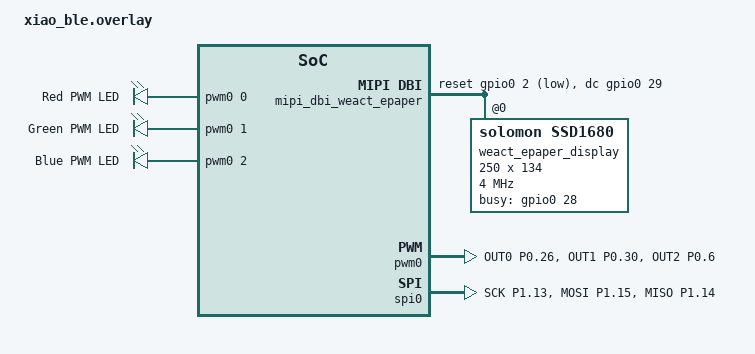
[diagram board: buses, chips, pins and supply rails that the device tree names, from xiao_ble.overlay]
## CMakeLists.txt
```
cmake_minimum_required(VERSION 3.20.0)
find_package(Zephyr REQUIRED HINTS $ENV{ZEPHYR_BASE})

project(myown-ble-ht)

target_include_directories(app PRIVATE include)
target_sources(app PRIVATE
	src/main.c
	include/ble_rgb_service.c
	include/ble_ess_service.c
	include/display_epaper_cfb.c
	include/battery.c
)
```

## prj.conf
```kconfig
# Bluetooth Configuration
CONFIG_BT=y
CONFIG_BT_PERIPHERAL=y
CONFIG_BT_DEVICE_NAME="BLE H&T Sensor"

# BLE GATT Configuration
CONFIG_BT_GATT_DYNAMIC_DB=y
CONFIG_BT_GATT_SERVICE_CHANGED=y

# Logging
CONFIG_LOG=y
CONFIG_CONSOLE=y
CONFIG_UART_CONSOLE=y
CONFIG_SERIAL=y

# USB CDC ACM for logging over USB
# CONFIG_USB_DEVICE_STACK=y
# CONFIG_USB_DEVICE_INITIALIZE_AT_BOOT=y
# CONFIG_USB_CDC_ACM=y
# CONFIG_UART_LINE_CTRL=y

# System Configuration
CONFIG_HEAP_MEM_POOL_SIZE=2048

# Enable floating point for sensor values
CONFIG_NEWLIB_LIBC=y
CONFIG_NEWLIB_LIBC_FLOAT_PRINTF=y

# PWM for RGB LED
CONFIG_PWM=y

# GPIO for battery voltage divider control
CONFIG_GPIO=y

# ADC for Battery Voltage Reading
CONFIG_ADC=y

# SPI for E-Paper Display
CONFIG_SPI=y

# Display drivers
CONFIG_DISPLAY=y
CONFIG_SSD16XX=y

# Character Framebuffer (CFB) for display
CONFIG_CHARACTER_FRAMEBUFFER=y

# CFB fonts are automatically available, can be selected programmatically

# LVGL Graphics Library (disabled - using raw display API)
# CONFIG_LVGL=y

# Additional memory for LVGL
CONFIG_MAIN_STACK_SIZE=4096
CONFIG_SYSTEM_WORKQUEUE_STACK_SIZE=2048
CONFIG_HEAP_MEM_POOL_SIZE=8192
```

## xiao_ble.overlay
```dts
/ {
	chosen {
		zephyr,console = &uart0;
		zephyr,shell-uart = &uart0;
		zephyr,display = &weact_epaper_display;
	};

	pwmleds {
		compatible = "pwm-leds";

		red_pwm_led: red_pwm_led {
			pwms = <&pwm0 0 PWM_MSEC(20) PWM_POLARITY_INVERTED>;
			label = "Red PWM LED";
		};
		green_pwm_led: green_pwm_led {
			pwms = <&pwm0 1 PWM_MSEC(20) PWM_POLARITY_INVERTED>;
			label = "Green PWM LED";
		};
		blue_pwm_led: blue_pwm_led {
			pwms = <&pwm0 2 PWM_MSEC(20) PWM_POLARITY_INVERTED>;
			label = "Blue PWM LED";
		};
	};

	mipi_dbi_weact_epaper {
		compatible = "zephyr,mipi-dbi-spi";
		spi-dev = <&spi0>;
		dc-gpios = <&gpio0 29 GPIO_ACTIVE_HIGH>;    /* D3 = P0.29 - DC */
		reset-gpios = <&gpio0 2 GPIO_ACTIVE_LOW>;   /* D0 = P0.02 - RST */
		#address-cells = <1>;
		#size-cells = <0>;

		weact_epaper_display: ssd1680@0 {
			compatible = "solomon,ssd1680";
			reg = <0>;
			mipi-max-frequency = <4000000>;
			width = <250>;
			height = <134>;
			busy-gpios = <&gpio0 28 GPIO_ACTIVE_HIGH>; /* D2 = P0.28 - BUSY (BL pin) */

			full {
				gdv = [15];
				sdv = [41 a8 32];
				vcom = <0x26>;
				border-waveform = <0x05>;
			};

			partial {
				gdv = [15];
				sdv = [41 a8 32];
				vcom = <0x26>;
				border-waveform = <0x01>;
			};
		};
	};
};

&pwm0 {
	status = "okay";
	pinctrl-0 = <&pwm0_default>;
	pinctrl-1 = <&pwm0_sleep>;
	pinctrl-names = "default", "sleep";
};

&pinctrl {
	pwm0_default: pwm0_default {
		group1 {
			psels = <NRF_PSEL(PWM_OUT0, 0, 26)>,  /* Red LED - P0.26 */
				<NRF_PSEL(PWM_OUT1, 0, 30)>,  /* Green LED - P0.30 */
				<NRF_PSEL(PWM_OUT2, 0, 6)>;   /* Blue LED - P0.06 */
			nordic,invert;
		};
	};

	pwm0_sleep: pwm0_sleep {
		group1 {
			psels = <NRF_PSEL(PWM_OUT0, 0, 26)>,
				<NRF_PSEL(PWM_OUT1, 0, 30)>,
				<NRF_PSEL(PWM_OUT2, 0, 6)>;
			low-power-enable;
		};
	};

	spi0_default: spi0_default {
		group1 {
			psels = <NRF_PSEL(SPIM_SCK, 1, 13)>,    /* D8 - SCK */
				<NRF_PSEL(SPIM_MOSI, 1, 15)>,   /* D10 - MOSI */
				<NRF_PSEL(SPIM_MISO, 1, 14)>;   /* D9 - MISO (not used for display) */
		};
	};

	spi0_sleep: spi0_sleep {
		group1 {
			psels = <NRF_PSEL(SPIM_SCK, 1, 13)>,
				<NRF_PSEL(SPIM_MOSI, 1, 15)>,
				<NRF_PSEL(SPIM_MISO, 1, 14)>;
			low-power-enable;
		};
	};
};

/* Enable spi0 for E-Paper Display */
&spi0 {
	compatible = "nordic,nrf-spim";
	status = "okay";
	cs-gpios = <&gpio0 3 GPIO_ACTIVE_LOW>;  /* D1 = P0.03 - CS */
	pinctrl-0 = <&spi0_default>;
	pinctrl-1 = <&spi0_sleep>;
	pinctrl-names = "default", "sleep";
};
```

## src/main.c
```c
#include <zephyr/kernel.h>
#include <zephyr/bluetooth/bluetooth.h>
#include <zephyr/bluetooth/gap.h>
#include <zephyr/bluetooth/conn.h>
#include <zephyr/bluetooth/uuid.h>
#include <zephyr/logging/log.h>

#include "../include/ble_rgb_service.h"
#include "../include/ble_ess_service.h"
#include "../include/display_epaper.h"
#include "../include/battery.h"

LOG_MODULE_REGISTER(main, LOG_LEVEL_INF);

/* BLE advertising data */
static const struct bt_data ad[] = {
	BT_DATA_BYTES(BT_DATA_FLAGS, (BT_LE_AD_GENERAL | BT_LE_AD_NO_BREDR)),
	BT_DATA_BYTES(BT_DATA_UUID16_ALL,
		      0x1A, 0x18,  /* Environmental Sensing Service (0x181A) - little endian */
		      0xE0, 0xFF), /* RGB LED Service (0xFFE0) - little endian */
};

static const struct bt_data sd[] = {
	BT_DATA(BT_DATA_NAME_COMPLETE, CONFIG_BT_DEVICE_NAME, sizeof(CONFIG_BT_DEVICE_NAME) - 1),
};

/* Connection callbacks */
static void connected(struct bt_conn *conn, uint8_t err)
{
	if (err) {
		LOG_ERR("Connection failed (err 0x%02x)", err);
	} else {
		LOG_INF("Connected");
	}
}

static void disconnected(struct bt_conn *conn, uint8_t reason)
{
	LOG_INF("Disconnected (reason 0x%02x)", reason);
}

BT_CONN_CB_DEFINE(conn_callbacks) = {
	.connected = connected,
	.disconnected = disconnected,
};

int main(void)
{
	int err;

	LOG_INF("=== BLE H&T Sensor Starting ===");

	/* Initialize RGB LED service */
	err = ble_rgb_service_init();
	if (err) {
		LOG_ERR("RGB service init failed (err %d)", err);
		return 0;
	}

	/* Initialize Environmental Sensing Service */
	err = ble_ess_service_init();
	if (err) {
		LOG_ERR("ESS init failed (err %d)", err);
		return 0;
	}

	/* Initialize Bluetooth */
	err = bt_enable(NULL);
	if (err) {
		LOG_ERR("Bluetooth init failed (err %d)", err);
		return 0;
	}
	LOG_INF("Bluetooth initialized");

	/* Start BLE advertising */
	struct bt_le_adv_param adv_param = {
		.id = BT_ID_DEFAULT,
		.sid = 0,
		.secondary_max_skip = 0,
		.options = BT_LE_ADV_OPT_CONN,
		.interval_min = BT_GAP_ADV_FAST_INT_MIN_2,
		.interval_max = BT_GAP_ADV_FAST_INT_MAX_2,
		.peer = NULL,
	};

	err = bt_le_adv_start(&adv_param, ad, ARRAY_SIZE(ad), sd, ARRAY_SIZE(sd));
	if (err) {
		LOG_ERR("Advertising failed to start (err %d)", err);
		return 0;
	}

	LOG_INF("Advertising started as '%s'", CONFIG_BT_DEVICE_NAME);
	LOG_INF("Services ready:");
	LOG_INF("  - Environmental Sensing Service (0x181A)");
	LOG_INF("  - RGB LED Service (0xFFE0)");

	/* Start automatic sensor data updates */
	ess_start_auto_update();

	/* Initialize E-Paper Display */
	err = display_epaper_init();
	if (err) {
		LOG_ERR("Display init failed (err %d)", err);
		return 0;
	}

	/* Initialize battery monitoring */
	err = battery_init();
	if (err) {
		LOG_ERR("Battery init failed (err %d)", err);
		/* Continue anyway - not critical */
	}

	/* Initialize sensor display labels */
	display_init_sensor_labels();

	/* Read and display initial battery level */
	uint16_t voltage = battery_read_voltage();
	uint8_t battery_pct = battery_get_percentage(voltage);
	display_update_battery(voltage, battery_pct);

	/* Main loop - just sleep */
	while (1) {
		k_sleep(K_FOREVER);
	}

	return 0;
}
```

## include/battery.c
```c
#include "battery.h"
#include <zephyr/device.h>
#include <zephyr/drivers/adc.h>
#include <zephyr/drivers/gpio.h>
#include <zephyr/logging/log.h>

LOG_MODULE_REGISTER(battery, LOG_LEVEL_INF);

/* ADC settings for nRF52840 */
#define ADC_DEVICE_NODE DT_NODELABEL(adc)
#define ADC_RESOLUTION 12  /* 12-bit resolution */
#define ADC_GAIN ADC_GAIN_1_6
#define ADC_REFERENCE ADC_REF_INTERNAL
#define ADC_ACQUISITION_TIME ADC_ACQ_TIME(ADC_ACQ_TIME_MICROSECONDS, 10)
#define ADC_CHANNEL_ID 7  /* Use channel 7 for AIN7 (P0.31) */

/* XIAO nRF52840 battery monitoring pins */
#define VBAT_ENABLE_PIN 14  /* P0.14 - enables voltage divider when LOW */
#define VBAT_ADC_PIN 31     /* P0.31 - AIN7 - battery voltage input */

/* Voltage divider: 1M + 510k resistors = (1000 + 510) / 510 ≈ 2.96 */
#define VBAT_DIVIDER_NUMERATOR 1510
#define VBAT_DIVIDER_DENOMINATOR 510

/* Calibration factor to compensate for ADC/resistor tolerances */
/* Adjust this based on multimeter readings: (actual_voltage / measured_voltage) * 1000 */
#define VBAT_CALIBRATION_FACTOR 1029  /* 1.029 * 1000 - adjusted for 4.00V target */

/* Moving average filter settings */
#define VBAT_SAMPLE_COUNT 8  /* Number of samples to average */
static uint16_t voltage_samples[VBAT_SAMPLE_COUNT];
static uint8_t sample_index = 0;
static bool samples_filled = false;

static const struct device *adc_dev;

static struct adc_channel_cfg channel_cfg = {
	.gain = ADC_GAIN,
	.reference = ADC_REFERENCE,
	.acquisition_time = ADC_ACQUISITION_TIME,
	.channel_id = ADC_CHANNEL_ID,
	.input_positive = SAADC_CH_PSELP_PSELP_AnalogInput7,  /* P0.31 / AIN7 */
};

static int16_t sample_buffer;
static struct adc_sequence sequence = {
	.buffer = &sample_buffer,
	.buffer_size = sizeof(sample_buffer),
	.resolution = ADC_RESOLUTION,
};

int battery_init(void)
{
	int ret;
	const struct device *gpio_dev;

	/* Get GPIO device for P0.14 (VBAT_ENABLE) */
	gpio_dev = DEVICE_DT_GET(DT_NODELABEL(gpio0));
	if (!device_is_ready(gpio_dev)) {
		LOG_ERR("GPIO device not ready");
		return -ENODEV;
	}

	/* Configure P0.14 as output and set LOW to enable voltage divider */
	ret = gpio_pin_configure(gpio_dev, VBAT_ENABLE_PIN, GPIO_OUTPUT_ACTIVE);
	if (ret != 0) {
		LOG_ERR("Failed to configure VBAT_ENABLE pin: %d", ret);
		return ret;
	}

	/* Set P0.14 LOW to enable battery voltage reading */
	ret = gpio_pin_set(gpio_dev, VBAT_ENABLE_PIN, 0);
	if (ret != 0) {
		LOG_ERR("Failed to set VBAT_ENABLE LOW: %d", ret);
		return ret;
	}

	/* Initialize ADC */
	adc_dev = DEVICE_DT_GET(ADC_DEVICE_NODE);
	if (!device_is_ready(adc_dev)) {
		LOG_ERR("ADC device not ready");
		return -ENODEV;
	}

	ret = adc_channel_setup(adc_dev, &channel_cfg);
	if (ret != 0) {
		LOG_ERR("ADC channel setup failed: %d", ret);
		return ret;
	}

	/* Set channel mask for the sequence */
	sequence.channels = BIT(ADC_CHANNEL_ID);

	LOG_INF("Battery monitoring initialized (P0.31/AIN7)");
	return 0;
}

uint16_t battery_read_voltage(void)
{
	int ret;
	int32_t val_mv;
	int32_t adc_voltage;
	uint32_t average_voltage = 0;

	ret = adc_read(adc_dev, &sequence);
	if (ret != 0) {
		LOG_ERR("ADC read failed: %d", ret);
		return 0;
	}

	LOG_INF("ADC raw value: %d", sample_buffer);

	/* Convert ADC value to millivolts */
	/* With internal reference (0.6V) and gain 1/6: */
	/* ADC voltage = sample * (600mV * 6) / 4096 */
	val_mv = sample_buffer;
	adc_voltage = (val_mv * 600 * 6) / 4096;

	LOG_INF("ADC voltage (before divider): %d mV", adc_voltage);

	/* Apply voltage divider ratio to get actual battery voltage */
	/* Battery voltage = ADC voltage * (1510 / 510) */
	val_mv = (adc_voltage * VBAT_DIVIDER_NUMERATOR) / VBAT_DIVIDER_DENOMINATOR;

	/* Apply calibration factor */
	val_mv = (val_mv * VBAT_CALIBRATION_FACTOR) / 1000;

	LOG_INF("Battery voltage (before averaging): %d mV", val_mv);

	/* Store sample in circular buffer */
	voltage_samples[sample_index] = (uint16_t)val_mv;
	sample_index = (sample_index + 1) % VBAT_SAMPLE_COUNT;

	/* Mark buffer as filled after first full cycle */
	if (sample_index == 0) {
		samples_filled = true;
	}

	/* Calculate moving average */
	uint8_t samples_to_average = samples_filled ? VBAT_SAMPLE_COUNT : sample_index;
	if (samples_to_average == 0) {
		samples_to_average = 1;  /* At least use the current sample */
	}

	for (uint8_t i = 0; i < samples_to_average; i++) {
		average_voltage += voltage_samples[i];
	}
	average_voltage /= samples_to_average;

	LOG_INF("Battery voltage (after averaging %d samples): %d mV",
		samples_to_average, average_voltage);

	return (uint16_t)average_voltage;
}

uint8_t battery_get_percentage(uint16_t mv)
{
    // Li-ion voltage curve (4.20V to 3.30V)
    const uint16_t voltage_table[] = {
        4200, 4100, 4000, 3900, 3800, 3700, 3600, 3500, 3400, 3300
    };

    const uint8_t percent_table[] = {
        100,  96,   90,   80,   60,   40,   25,   10,    5,    0
    };

    // Above max → 100%
    if (mv >= 4000) return 100;
    // Below min → 0%
    if (mv <= 3300) return 0;

    // Piecewise linear interpolation
    for (int i = 0; i < 9; i++) {
        if (mv >= voltage_table[i+1]) {
            uint16_t v1 = voltage_table[i];
            uint16_t v2 = voltage_table[i+1];
            uint8_t p1 = percent_table[i];
            uint8_t p2 = percent_table[i+1];

            // Linear interpolation between table points
            return p1 - ((p1 - p2) * (v1 - mv) / (v1 - v2));
        }
    }

    return 0; // should not happen
}
```

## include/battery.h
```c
#ifndef BATTERY_H
#define BATTERY_H

#include <zephyr/kernel.h>

/**
 * @brief Initialize battery monitoring
 *
 * @return 0 on success, negative errno on failure
 */
int battery_init(void);

/**
 * @brief Read battery voltage
 *
 * @return Battery voltage in millivolts (mV)
 */
uint16_t battery_read_voltage(void);

/**
 * @brief Get battery percentage (0-100%)
 *
 * @param voltage_mv Battery voltage in millivolts
 * @return Battery level as percentage
 */
uint8_t battery_get_percentage(uint16_t voltage_mv);

#endif /* BATTERY_H */
```

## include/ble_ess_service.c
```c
#include "ble_ess_service.h"
#include "display_epaper.h"
#include "battery.h"
#include <zephyr/bluetooth/bluetooth.h>
#include <zephyr/bluetooth/gatt.h>
#include <zephyr/bluetooth/uuid.h>
#include <zephyr/sys/byteorder.h>
#include <zephyr/logging/log.h>

LOG_MODULE_REGISTER(ble_ess, LOG_LEVEL_INF);

/* Environmental Sensing Service UUID */
#define ESS_UUID_VAL 0x181A
#define TEMPERATURE_UUID_VAL 0x2A6E
#define HUMIDITY_UUID_VAL 0x2A6F

#define BT_UUID_ESS           BT_UUID_DECLARE_16(ESS_UUID_VAL)
#define BT_UUID_TEMPERATURE   BT_UUID_DECLARE_16(TEMPERATURE_UUID_VAL)
#define BT_UUID_HUMIDITY      BT_UUID_DECLARE_16(HUMIDITY_UUID_VAL)

/* Sensor data (dummy values) */
static int16_t temperature = 2250;  /* 22.50°C (value * 0.01) */
static uint16_t humidity = 5500;     /* 55.00% (value * 0.01) */

/* Update functions */
void ess_update_temperature(int16_t temp_celsius)
{
	temperature = temp_celsius;
	LOG_DBG("Temperature updated: %d.%02d°C", temperature / 100, temperature % 100);
}

void ess_update_humidity(uint16_t humidity_percent)
{
	humidity = humidity_percent;
	LOG_DBG("Humidity updated: %d.%02d%%", humidity / 100, humidity % 100);
}

/* Temperature Characteristic Read Callback */
static ssize_t read_temperature(struct bt_conn *conn,
				const struct bt_gatt_attr *attr,
				void *buf, uint16_t len, uint16_t offset)
{
	int16_t temp_value = sys_cpu_to_le16(temperature);

	LOG_INF("Temperature read: %d.%02d°C", temperature / 100, temperature % 100);

	return bt_gatt_attr_read(conn, attr, buf, len, offset,
				 &temp_value, sizeof(temp_value));
}

/* Humidity Characteristic Read Callback */
static ssize_t read_humidity(struct bt_conn *conn,
			     const struct bt_gatt_attr *attr,
			     void *buf, uint16_t len, uint16_t offset)
{
	uint16_t humidity_value = sys_cpu_to_le16(humidity);

	LOG_INF("Humidity read: %d.%02d%%", humidity / 100, humidity % 100);

	return bt_gatt_attr_read(conn, attr, buf, len, offset,
				 &humidity_value, sizeof(humidity_value));
}

/* Environmental Sensing Service Declaration */
BT_GATT_SERVICE_DEFINE(ess_svc,
	BT_GATT_PRIMARY_SERVICE(BT_UUID_ESS),

	/* Temperature Characteristic */
	BT_GATT_CHARACTERISTIC(BT_UUID_TEMPERATURE,
			       BT_GATT_CHRC_READ | BT_GATT_CHRC_NOTIFY,
			       BT_GATT_PERM_READ,
			       read_temperature, NULL, NULL),
	BT_GATT_CCC(NULL, BT_GATT_PERM_READ | BT_GATT_PERM_WRITE),

	/* Humidity Characteristic */
	BT_GATT_CHARACTERISTIC(BT_UUID_HUMIDITY,
			       BT_GATT_CHRC_READ | BT_GATT_CHRC_NOTIFY,
			       BT_GATT_PERM_READ,
			       read_humidity, NULL, NULL),
	BT_GATT_CCC(NULL, BT_GATT_PERM_READ | BT_GATT_PERM_WRITE),
);

/* Auto-update timer and work */
static void update_sensor_data(struct k_work *work);
static K_WORK_DELAYABLE_DEFINE(sensor_update_work, update_sensor_data);

static void update_sensor_data(struct k_work *work)
{
	/* Generate dummy temperature: 20.00°C to 25.00°C */
	static int16_t temp_offset = 0;
	temperature = 2200 + (temp_offset % 500);
	temp_offset += 50;

	/* Generate dummy humidity: 45.00% to 65.00% */
	static int16_t hum_offset = 0;
	humidity = 5000 + (hum_offset % 2000);
	hum_offset += 200;

	LOG_INF("Sensor updated - Temp: %d.%02d°C, Humidity: %d.%02d%%",
		temperature / 100, temperature % 100,
		humidity / 100, humidity % 100);

	/* Update display */
	display_update_sensors(temperature, humidity);

	/* Update battery display */
	uint16_t voltage = battery_read_voltage();
	uint8_t battery_pct = battery_get_percentage(voltage);
	display_update_battery(voltage, battery_pct);

	/* Schedule next update in 10 seconds */
	k_work_schedule(&sensor_update_work, K_SECONDS(10));
}

void ess_start_auto_update(void)
{
	LOG_INF("Starting automatic sensor updates");
	k_work_schedule(&sensor_update_work, K_SECONDS(10));
}

int ble_ess_service_init(void)
{
	LOG_INF("ESS initialized - Temp: %d.%02d°C, Humidity: %d.%02d%%",
		temperature / 100, temperature % 100,
		humidity / 100, humidity % 100);
	return 0;
}
```

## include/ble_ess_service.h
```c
#ifndef BLE_ESS_SERVICE_H
#define BLE_ESS_SERVICE_H

#include <zephyr/kernel.h>

/**
 * @brief Initialize the Environmental Sensing Service
 *
 * @return 0 on success, negative errno on failure
 */
int ble_ess_service_init(void);

/**
 * @brief Update temperature value
 *
 * @param temp_celsius Temperature in Celsius * 100 (e.g., 2250 = 22.50°C)
 */
void ess_update_temperature(int16_t temp_celsius);

/**
 * @brief Update humidity value
 *
 * @param humidity_percent Humidity in percent * 100 (e.g., 5500 = 55.00%)
 */
void ess_update_humidity(uint16_t humidity_percent);

/**
 * @brief Start automatic sensor data updates (dummy data)
 *
 * This will update the sensor values every 10 seconds with dummy data
 */
void ess_start_auto_update(void);

#endif /* BLE_ESS_SERVICE_H */
```

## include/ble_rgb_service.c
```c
#include "ble_rgb_service.h"
#include "display_epaper.h"
#include <zephyr/bluetooth/bluetooth.h>
#include <zephyr/bluetooth/gatt.h>
#include <zephyr/bluetooth/uuid.h>
#include <zephyr/drivers/pwm.h>
#include <zephyr/logging/log.h>

LOG_MODULE_REGISTER(ble_rgb, LOG_LEVEL_INF);

/* Custom RGB LED Service UUID */
#define RGB_SERVICE_UUID_VAL 0xFFE0
#define RGB_CHAR_UUID_VAL 0xFFE1
#define TEXT_CHAR_UUID_VAL 0xFFE2

#define BT_UUID_RGB_SERVICE   BT_UUID_DECLARE_16(RGB_SERVICE_UUID_VAL)
#define BT_UUID_RGB_CHAR      BT_UUID_DECLARE_16(RGB_CHAR_UUID_VAL)
#define BT_UUID_TEXT_CHAR     BT_UUID_DECLARE_16(TEXT_CHAR_UUID_VAL)

/* RGB LED data */
static uint8_t rgb_values[3] = {0, 0, 0}; /* R, G, B */

/* Text buffer for display */
#define TEXT_BUFFER_SIZE 128
static char text_buffer[TEXT_BUFFER_SIZE];

/* PWM devices */
#if DT_NODE_EXISTS(DT_NODELABEL(red_pwm_led))
static const struct pwm_dt_spec pwm_led_red = PWM_DT_SPEC_GET(DT_NODELABEL(red_pwm_led));
static const struct pwm_dt_spec pwm_led_green = PWM_DT_SPEC_GET(DT_NODELABEL(green_pwm_led));
static const struct pwm_dt_spec pwm_led_blue = PWM_DT_SPEC_GET(DT_NODELABEL(blue_pwm_led));
#else
#error "PWM LED nodes not found in device tree"
#endif

/* Set RGB LED color */
void rgb_led_set_color(uint8_t red, uint8_t green, uint8_t blue)
{
	uint32_t pulse_red, pulse_green, pulse_blue;

	/* Convert 0-255 to PWM pulse width (0-100% of period) */
	pulse_red = (pwm_led_red.period * red) / 255;
	pulse_green = (pwm_led_green.period * green) / 255;
	pulse_blue = (pwm_led_blue.period * blue) / 255;

	pwm_set_pulse_dt(&pwm_led_red, pulse_red);
	pwm_set_pulse_dt(&pwm_led_green, pulse_green);
	pwm_set_pulse_dt(&pwm_led_blue, pulse_blue);

	LOG_INF("RGB LED: R=%d, G=%d, B=%d", red, green, blue);
}

/* RGB Characteristic Write Callback */
static ssize_t write_rgb(struct bt_conn *conn,
			 const struct bt_gatt_attr *attr,
			 const void *buf, uint16_t len, uint16_t offset,
			 uint8_t flags)
{
	if (offset + len > sizeof(rgb_values)) {
		return BT_GATT_ERR(BT_ATT_ERR_INVALID_OFFSET);
	}

	memcpy(rgb_values + offset, buf, len);

	if (len >= 3) {
		rgb_led_set_color(rgb_values[0], rgb_values[1], rgb_values[2]);
	}

	return len;
}

/* RGB Characteristic Read Callback */
static ssize_t read_rgb(struct bt_conn *conn,
			const struct bt_gatt_attr *attr,
			void *buf, uint16_t len, uint16_t offset)
{
	return bt_gatt_attr_read(conn, attr, buf, len, offset,
				 rgb_values, sizeof(rgb_values));
}

/* Text Characteristic Write Callback */
static ssize_t write_text(struct bt_conn *conn,
			  const struct bt_gatt_attr *attr,
			  const void *buf, uint16_t len, uint16_t offset,
			  uint8_t flags)
{
	if (offset + len > TEXT_BUFFER_SIZE - 1) {
		return BT_GATT_ERR(BT_ATT_ERR_INVALID_OFFSET);
	}

	memcpy(text_buffer + offset, buf, len);
	text_buffer[offset + len] = '\0'; /* Null terminate */

	LOG_INF("Received text (%d bytes): %s", len, text_buffer);

	/* Update the display with the received text */
	display_show_message(text_buffer);

	return len;
}

/* Text Characteristic Read Callback */
static ssize_t read_text(struct bt_conn *conn,
			 const struct bt_gatt_attr *attr,
			 void *buf, uint16_t len, uint16_t offset)
{
	size_t text_len = strlen(text_buffer);
	return bt_gatt_attr_read(conn, attr, buf, len, offset,
				 text_buffer, text_len);
}

/* RGB LED Service Declaration */
BT_GATT_SERVICE_DEFINE(rgb_svc,
	BT_GATT_PRIMARY_SERVICE(BT_UUID_RGB_SERVICE),

	/* RGB Characteristic - Write RGB values (3 bytes: R, G, B) */
	BT_GATT_CHARACTERISTIC(BT_UUID_RGB_CHAR,
			       BT_GATT_CHRC_READ | BT_GATT_CHRC_WRITE,
			       BT_GATT_PERM_READ | BT_GATT_PERM_WRITE,
			       read_rgb, write_rgb, NULL),

	/* Text Characteristic - Write text to display (up to 127 chars) */
	BT_GATT_CHARACTERISTIC(BT_UUID_TEXT_CHAR,
			       BT_GATT_CHRC_READ | BT_GATT_CHRC_WRITE,
			       BT_GATT_PERM_READ | BT_GATT_PERM_WRITE,
			       read_text, write_text, NULL),
);

int ble_rgb_service_init(void)
{
	/* Check PWM devices */
	if (!pwm_is_ready_dt(&pwm_led_red)) {
		LOG_ERR("Red PWM device not ready");
		return -ENODEV;
	}
	if (!pwm_is_ready_dt(&pwm_led_green)) {
		LOG_ERR("Green PWM device not ready");
		return -ENODEV;
	}
	if (!pwm_is_ready_dt(&pwm_led_blue)) {
		LOG_ERR("Blue PWM device not ready");
		return -ENODEV;
	}

	/* Turn off RGB LED initially */
	rgb_led_set_color(0, 0, 0);

	/* Initialize text buffer */
	memset(text_buffer, 0, TEXT_BUFFER_SIZE);

	LOG_INF("RGB LED service initialized");
	LOG_INF("Text display characteristic available (UUID: 0x%04X)", TEXT_CHAR_UUID_VAL);

	return 0;
}
```

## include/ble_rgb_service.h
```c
#ifndef BLE_RGB_SERVICE_H
#define BLE_RGB_SERVICE_H

#include <zephyr/kernel.h>

/**
 * @brief Initialize the RGB LED service
 *
 * This initializes the PWM hardware and sets up the RGB LED
 *
 * @return 0 on success, negative errno on failure
 */
int ble_rgb_service_init(void);

/**
 * @brief Set RGB LED color directly
 *
 * @param red Red value (0-255)
 * @param green Green value (0-255)
 * @param blue Blue value (0-255)
 */
void rgb_led_set_color(uint8_t red, uint8_t green, uint8_t blue);

#endif /* BLE_RGB_SERVICE_H */
```

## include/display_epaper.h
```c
#ifndef DISPLAY_EPAPER_H
#define DISPLAY_EPAPER_H

#include <zephyr/kernel.h>

/**
 * @brief Display rotation angles
 */
enum display_rotation {
	DISPLAY_ROTATION_0 = 0,    /* Normal orientation */
	DISPLAY_ROTATION_90 = 90,  /* Rotated 90 degrees clockwise */
	DISPLAY_ROTATION_180 = 180, /* Rotated 180 degrees */
	DISPLAY_ROTATION_270 = 270  /* Rotated 270 degrees clockwise */
};

/**
 * @brief Initialize the E-Paper display
 *
 * @return 0 on success, negative errno on failure
 */
int display_epaper_init(void);

/**
 * @brief Initialize sensor display with static labels
 */
void display_init_sensor_labels(void);

/**
 * @brief Update only the sensor values (not labels)
 *
 * @param temp_celsius Temperature in Celsius * 100 (e.g., 2250 = 22.50°C)
 * @param humidity_percent Humidity in percent * 100 (e.g., 5500 = 55.00%)
 */
void display_update_sensors(int16_t temp_celsius, uint16_t humidity_percent);

/**
 * @brief Update battery display
 *
 * @param voltage_mv Battery voltage in millivolts
 * @param percentage Battery percentage (0-100)
 */
void display_update_battery(uint16_t voltage_mv, uint8_t percentage);

/**
 * @brief Show a message on the display
 *
 * @param message Message to display
 */
void display_show_message(const char *message);

/**
 * @brief Set display rotation
 *
 * @param rotation Rotation angle (0, 90, 180, or 270 degrees)
 * @return 0 on success, negative errno on failure
 */
int display_set_rotation(enum display_rotation rotation);

/**
 * @brief Draw a monochrome image on the display
 *
 * @param image_data Pointer to image data (1 bit per pixel, row-major order)
 * @param x X coordinate (0-249)
 * @param y Y coordinate (0-119)
 * @param width Image width in pixels
 * @param height Image height in pixels
 * @return 0 on success, negative errno on failure
 */
int display_draw_image(const uint8_t *image_data, uint16_t x, uint16_t y,
                       uint16_t width, uint16_t height);

/**
 * @brief Add a temperature reading to the graph history
 *
 * @param temp_celsius Temperature in Celsius * 100 (e.g., 2250 = 22.50°C)
 */
void display_add_temp_reading(int16_t temp_celsius);

/**
 * @brief Draw the temperature graph
 */
void display_draw_graph(void);

#endif /* DISPLAY_EPAPER_H */
```

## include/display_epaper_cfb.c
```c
#include "display_epaper.h"
#include "ble_rgb_service.h"
#include "icons.h"
#include <zephyr/device.h>
#include <zephyr/drivers/display.h>
#include <zephyr/display/cfb.h>
#include <zephyr/logging/log.h>
#include <stdio.h>
#include <string.h>

LOG_MODULE_REGISTER(display, LOG_LEVEL_INF);

static const struct device *display_dev;
static enum display_rotation current_rotation = DISPLAY_ROTATION_180;

/* Temperature graph data */
#define GRAPH_MAX_POINTS 50  /* Number of data points to store */
#define GRAPH_LABEL_WIDTH 24 /* Width reserved for Y-axis labels */
#define GRAPH_X 24           /* Graph X position (leave space for labels) */
#define GRAPH_Y 72           /* Graph Y position (below icons) */
#define GRAPH_WIDTH 226      /* Graph width (250 - 24 for labels) */
#define GRAPH_HEIGHT 48      /* Graph height (72 to 120) */

static int16_t temp_history[GRAPH_MAX_POINTS];
static uint8_t temp_history_count = 0;
static uint8_t temp_history_index = 0;

int display_epaper_init(void)
{
	int ret;
	uint16_t rows, cols;

	/* Yellow LED - Display init starting */
	rgb_led_set_color(255, 255, 0);
	k_sleep(K_MSEC(500));

	display_dev = DEVICE_DT_GET(DT_CHOSEN(zephyr_display));

	if (!device_is_ready(display_dev)) {
		LOG_ERR("Display device not ready");
		rgb_led_set_color(255, 0, 0);
		return -ENODEV;
	}

	/* Set rotation to 180 degrees */
	display_set_rotation(DISPLAY_ROTATION_180);

	/* Initialize CFB */
	ret = cfb_framebuffer_init(display_dev);
	if (ret != 0) {
		LOG_ERR("CFB init failed: %d", ret);
		rgb_led_set_color(255, 0, 0);
		return ret;
	}

	/* Get display dimensions */
	rows = cfb_get_display_parameter(display_dev, CFB_DISPLAY_ROWS);
	cols = cfb_get_display_parameter(display_dev, CFB_DISPLAY_COLS);
	LOG_INF("CFB dimensions: %d rows x %d cols", rows, cols);

	/* Also log pixel dimensions */
	struct display_capabilities caps;
	display_get_capabilities(display_dev, &caps);
	LOG_INF("Pixel dimensions: %d x %d", caps.x_resolution, caps.y_resolution);

	cfb_framebuffer_clear(display_dev, false);

	/* Turn off blanking (enable display) */
	ret = display_blanking_off(display_dev);
	if (ret != 0) {
		LOG_ERR("Failed to turn off blanking: %d", ret);
		rgb_led_set_color(255, 0, 0);
		return ret;
	}

	/* Invert display for black text on white background */
	cfb_framebuffer_invert(display_dev);

	/* Draw bleink logo in middle of display */
	/* Logo is 128x128 pixels, center it on 250x120 display */
	/* X: (250 - 128) / 2 = 61, Y: (120 - 128) / 2 = -4 (clipped to 0, will overflow) */
	ret = display_draw_image(bleink_logo, 61, 5, ICON_BLEINK_LOGO_WIDTH, ICON_BLEINK_LOGO_HEIGHT);
	if (ret != 0) {
		LOG_ERR("Failed to draw logo: %d", ret);
	}

	cfb_framebuffer_finalize(display_dev);

	LOG_INF("E-Paper display initialized with CFB");

	/* GREEN LED - Success! */
	rgb_led_set_color(0, 255, 0);
	k_sleep(K_SECONDS(3));
	rgb_led_set_color(0, 0, 0);

	return 0;
}

void display_show_message(const char *message)
{
	uint16_t rows;

	if (!message) {
		return;
	}

	/* Clear to white and invert for black text */
	cfb_framebuffer_clear(display_dev, false);

	/* Get display rows and center text vertically */
	rows = cfb_get_display_parameter(display_dev, CFB_DISPLAY_ROWS);

	/* Position text in middle of display */
	cfb_print(display_dev, message, 0, 8);

	/* Finalize to update display */
	cfb_framebuffer_finalize(display_dev);

	LOG_INF("Displayed: %s", message);
}

void display_init_sensor_labels(void)
{
	/* Clear and setup initial display with icons */
	cfb_framebuffer_clear(display_dev, false);

	/* Draw temp/humidity icon on the left (0, 0) */
	display_draw_image(icon_thermometer, 0, 7,
			   ICON_THERMOMETER_WIDTH, ICON_THERMOMETER_HEIGHT);

	/* Draw battery icon on the right corner (250-24=226, 0) */
	display_draw_image(icon_full_battery, 215, 10,
			   ICON_FULL_BATTERY_WIDTH, ICON_FULL_BATTERY_HEIGHT);

	cfb_framebuffer_finalize(display_dev);

	LOG_INF("Sensor icons initialized");
}

void display_update_sensors(int16_t temp_celsius, uint16_t humidity_percent)
{
	char temp_buf[32];
	char humid_buf[32];

	/* Add temperature reading to graph history */
	display_add_temp_reading(temp_celsius);

	/* Clear entire framebuffer to redraw everything fresh */
	cfb_framebuffer_clear(display_dev, false);

	/* Redraw icons */
	display_draw_image(icon_thermometer, 0, 7,
			   ICON_THERMOMETER_WIDTH, ICON_THERMOMETER_HEIGHT);
	display_draw_image(icon_full_battery, 215, 10,
			   ICON_FULL_BATTERY_WIDTH, ICON_FULL_BATTERY_HEIGHT);

	/* Format temperature and humidity values */
	snprintf(temp_buf, sizeof(temp_buf), "%d.%02d C",
		 temp_celsius / 100, abs(temp_celsius % 100));
	snprintf(humid_buf, sizeof(humid_buf), "%d.%02d %%",
		 humidity_percent / 100, humidity_percent % 100);

	/* Display values to the right of the temp/humidity icon */
	cfb_print(display_dev, temp_buf, 70, 20);
	cfb_print(display_dev, humid_buf, 70, 40);

	/* Draw the temperature graph at the bottom */
	display_draw_graph();

	/* Finalize framebuffer - send everything to display at once */
	cfb_framebuffer_finalize(display_dev);

	LOG_INF("Updated: Temp=%s, Humidity=%s", temp_buf, humid_buf);
}

void display_update_battery(uint16_t voltage_mv, uint8_t percentage)
{
	char batt_buf[16];

	/* Format battery percentage only */
	snprintf(batt_buf, sizeof(batt_buf), "%d%%", percentage);

	/* Display percentage below the battery icon */
	/* Battery icon is at x=226, 24px wide, text centered below it */
	cfb_print(display_dev, batt_buf, 170, 15);

	cfb_framebuffer_finalize(display_dev);

	LOG_INF("Updated: Battery=%d%% (%d.%02dV)", percentage,
		voltage_mv / 1000, (voltage_mv % 1000) / 10);
}

int display_set_rotation(enum display_rotation rotation)
{
	int ret;
	enum display_orientation orientation;

	/* Map rotation enum to display orientation */
	switch (rotation) {
	case DISPLAY_ROTATION_0:
		orientation = DISPLAY_ORIENTATION_NORMAL;
		break;
	case DISPLAY_ROTATION_90:
		orientation = DISPLAY_ORIENTATION_ROTATED_90;
		break;
	case DISPLAY_ROTATION_180:
		orientation = DISPLAY_ORIENTATION_ROTATED_180;
		break;
	case DISPLAY_ROTATION_270:
		orientation = DISPLAY_ORIENTATION_ROTATED_270;
		break;
	default:
		LOG_ERR("Invalid rotation: %d", rotation);
		return -EINVAL;
	}

	/* Set the orientation */
	ret = display_set_orientation(display_dev, orientation);
	if (ret != 0) {
		LOG_ERR("Failed to set orientation: %d", ret);
		return ret;
	}

	current_rotation = rotation;
	LOG_INF("Display rotation set to %d degrees", rotation);

	/* Re-initialize CFB after rotation change */
	cfb_framebuffer_clear(display_dev, false);
	cfb_framebuffer_finalize(display_dev);

	return 0;
}

int display_draw_image(const uint8_t *image_data, uint16_t x, uint16_t y,
                       uint16_t width, uint16_t height)
{
	int ret;

	if (!image_data) {
		LOG_ERR("Invalid image data pointer");
		return -EINVAL;
	}

	LOG_INF("Drawing %dx%d image at (%d,%d)", width, height, x, y);

	/* Draw bitmap pixel by pixel using CFB draw_point API */
	/* cfb_draw_point draws foreground pixels (black after inversion) */
	/* In source bitmap: 0 = black, 1 = white */
	struct cfb_position pos;

	for (uint16_t row = 0; row < height; row++) {
		/* Calculate source row offset */
		uint16_t src_row_offset = (row * width) / 8;

		for (uint16_t col = 0; col < width; col++) {
			/* Read pixel from source bitmap (row-major, MSB first per byte) */
			uint16_t src_byte = src_row_offset + (col / 8);
			uint8_t src_bit = 7 - (col % 8);
			uint8_t pixel = (image_data[src_byte] >> src_bit) & 0x01;

			/* Draw where we want black pixels (where source is 0) */
			if (pixel != 0) {
				continue;  /* Skip white pixels */
			}

			pos.x = x + col;
			pos.y = y + row;

			ret = cfb_draw_point(display_dev, &pos);
			if (ret != 0) {
				LOG_ERR("Failed to draw point at (%d,%d): %d", pos.x, pos.y, ret);
				return ret;
			}
		}
	}

	LOG_INF("Image drawn successfully");
	return 0;
}

void display_add_temp_reading(int16_t temp_celsius)
{
	/* Add temperature to circular buffer */
	temp_history[temp_history_index] = temp_celsius;
	temp_history_index = (temp_history_index + 1) % GRAPH_MAX_POINTS;

	if (temp_history_count < GRAPH_MAX_POINTS) {
		temp_history_count++;
	}

	LOG_DBG("Added temp reading: %d.%02d C (count=%d)",
		temp_celsius / 100, abs(temp_celsius % 100), temp_history_count);
}

void display_draw_graph(void)
{
	struct cfb_position pos;
	int ret;
	char label_buf[16];

	if (temp_history_count < 2) {
		LOG_DBG("Not enough data points to draw graph");
		return;  /* Need at least 2 points to draw a graph */
	}

	/* Clear the graph area by inverting it twice (or use framebuffer clear for region) */
	/* Since CFB doesn't have partial clear, we'll just overdraw */

	/* Find min and max temperature for scaling */
	int16_t min_temp = temp_history[0];
	int16_t max_temp = temp_history[0];

	for (uint8_t i = 0; i < temp_history_count; i++) {
		if (temp_history[i] < min_temp) {
			min_temp = temp_history[i];
		}
		if (temp_history[i] > max_temp) {
			max_temp = temp_history[i];
		}
	}

	/* Add some padding to min/max (reduced for more precision) */
	int16_t temp_range = max_temp - min_temp;
	if (temp_range < 200) {  /* Minimum 2°C range for better precision */
		temp_range = 200;
		int16_t mid = (max_temp + min_temp) / 2;
		min_temp = mid - 100;
		max_temp = mid + 100;
	} else {
		/* Add 10% padding to min/max */
		int16_t padding = temp_range / 10;
		min_temp -= padding;
		max_temp += padding;
		temp_range = max_temp - min_temp;
	}

	LOG_INF("Drawing graph: min=%d.%02d, max=%d.%02d, points=%d",
		min_temp / 100, abs(min_temp % 100),
		max_temp / 100, abs(max_temp % 100),
		temp_history_count);

	/* Calculate middle temperature */
	int16_t mid_temp = (max_temp + min_temp) / 2;

	/* Draw Y-axis labels (temperature values) OUTSIDE the graph box */
	/* Format and display max temperature at top, left of graph box */
	snprintf(label_buf, sizeof(label_buf), "%d",
		max_temp / 100);
	cfb_print(display_dev, label_buf, 0, GRAPH_Y + 1);

	/* Format and display min temperature at bottom, left of graph box */
	snprintf(label_buf, sizeof(label_buf), "%d",
		min_temp / 100);
	cfb_print(display_dev, label_buf, 0, GRAPH_Y + GRAPH_HEIGHT - 9);

	/* Display middle temperature value */
	snprintf(label_buf, sizeof(label_buf), "%d",
		mid_temp / 100);
	cfb_print(display_dev, label_buf, 0, GRAPH_Y + GRAPH_HEIGHT / 2 - 4);

	/* Draw graph axes (border) */
	/* Top line */
	for (uint16_t x = GRAPH_X; x < GRAPH_X + GRAPH_WIDTH; x++) {
		pos.x = x;
		pos.y = GRAPH_Y;
		cfb_draw_point(display_dev, &pos);
	}

	/* Bottom line */
	for (uint16_t x = GRAPH_X; x < GRAPH_X + GRAPH_WIDTH; x++) {
		pos.x = x;
		pos.y = GRAPH_Y + GRAPH_HEIGHT - 1;
		cfb_draw_point(display_dev, &pos);
	}

	/* Left line */
	for (uint16_t y = GRAPH_Y; y < GRAPH_Y + GRAPH_HEIGHT; y++) {
		pos.x = GRAPH_X;
		pos.y = y;
		cfb_draw_point(display_dev, &pos);
	}

	/* Right line */
	for (uint16_t y = GRAPH_Y; y < GRAPH_Y + GRAPH_HEIGHT; y++) {
		pos.x = GRAPH_X + GRAPH_WIDTH - 1;
		pos.y = y;
		cfb_draw_point(display_dev, &pos);
	}

	/* Draw horizontal grid lines for temperature reference */
	/* Top grid line (max temp) */
	uint16_t grid_y_max = GRAPH_Y;
	for (uint16_t x = GRAPH_X + 1; x < GRAPH_X + GRAPH_WIDTH - 1; x += 4) {
		pos.x = x;
		pos.y = grid_y_max;
		cfb_draw_point(display_dev, &pos);
	}

	/* Middle grid line (mid temp) */
	uint16_t grid_y_mid = GRAPH_Y + GRAPH_HEIGHT / 2;
	for (uint16_t x = GRAPH_X + 1; x < GRAPH_X + GRAPH_WIDTH - 1; x += 4) {
		pos.x = x;
		pos.y = grid_y_mid;
		cfb_draw_point(display_dev, &pos);
	}

	/* Bottom grid line (min temp) */
	uint16_t grid_y_min = GRAPH_Y + GRAPH_HEIGHT - 1;
	for (uint16_t x = GRAPH_X + 1; x < GRAPH_X + GRAPH_WIDTH - 1; x += 4) {
		pos.x = x;
		pos.y = grid_y_min;
		cfb_draw_point(display_dev, &pos);
	}

	/* Draw temperature line graph */
	uint16_t x_step = (GRAPH_WIDTH - 2) / (temp_history_count - 1);
	if (x_step == 0) {
		x_step = 1;
	}

	/* Calculate the starting index for oldest data in circular buffer */
	uint8_t oldest_index = 0;
	if (temp_history_count >= GRAPH_MAX_POINTS) {
		/* Buffer is full, oldest data is at temp_history_index */
		oldest_index = temp_history_index;
	}

	for (uint8_t i = 0; i < temp_history_count - 1; i++) {
		/* Calculate positions */
		uint16_t x1 = GRAPH_X + 1 + (i * x_step);
		uint16_t x2 = GRAPH_X + 1 + ((i + 1) * x_step);

		/* Read from circular buffer in chronological order */
		uint8_t idx1 = (oldest_index + i) % GRAPH_MAX_POINTS;
		uint8_t idx2 = (oldest_index + i + 1) % GRAPH_MAX_POINTS;

		/* Scale temperature to graph height */
		int16_t temp1 = temp_history[idx1];
		int16_t temp2 = temp_history[idx2];

		uint16_t y1 = GRAPH_Y + GRAPH_HEIGHT - 2 -
			      ((temp1 - min_temp) * (GRAPH_HEIGHT - 4) / temp_range);
		uint16_t y2 = GRAPH_Y + GRAPH_HEIGHT - 2 -
			      ((temp2 - min_temp) * (GRAPH_HEIGHT - 4) / temp_range);

		/* Draw line between points using Bresenham's algorithm */
		int16_t dx = abs(x2 - x1);
		int16_t dy = abs(y2 - y1);
		int16_t sx = (x1 < x2) ? 1 : -1;
		int16_t sy = (y1 < y2) ? 1 : -1;
		int16_t err = dx - dy;

		uint16_t x = x1;
		uint16_t y = y1;

		while (1) {
			pos.x = x;
			pos.y = y;
			ret = cfb_draw_point(display_dev, &pos);
			if (ret != 0) {
				LOG_ERR("Failed to draw graph point at (%d,%d)", x, y);
			}

			if (x == x2 && y == y2) {
				break;
			}

			int16_t e2 = 2 * err;
			if (e2 > -dy) {
				err -= dy;
				x += sx;
			}
			if (e2 < dx) {
				err += dx;
				y += sy;
			}
		}
	}

	LOG_INF("Graph drawn successfully");
}
```
